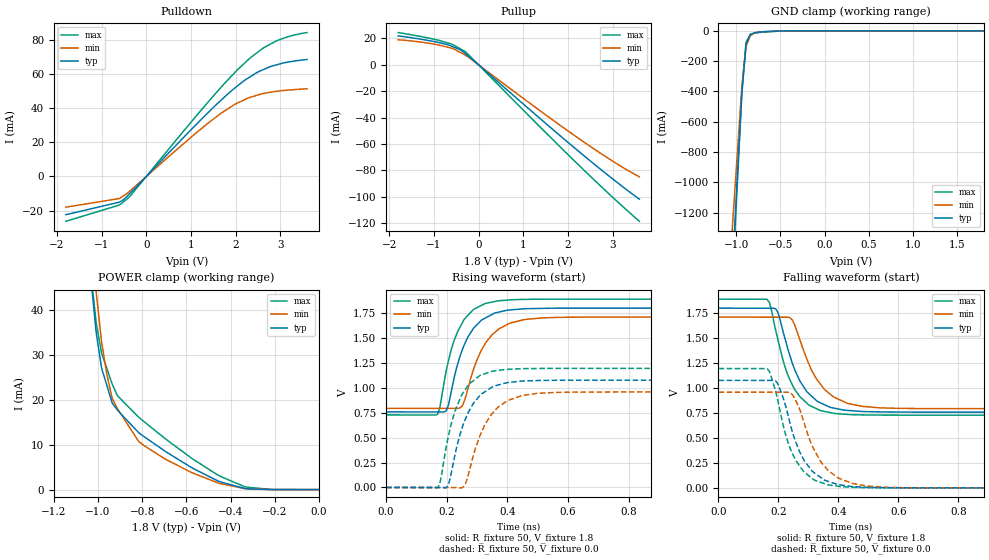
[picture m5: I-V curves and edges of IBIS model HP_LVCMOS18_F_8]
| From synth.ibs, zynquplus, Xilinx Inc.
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[Model] HP_LVCMOS18_F_8
Model_type I/O
Polarity   Non-Inverting
Enable   Active-Low
Vinl =   0.6300V
Vinh =   1.1700V
Vmeas =  0.9000V
Cref =   0.0000F
Rref =   1.0000M
Vref =   0.0000V
C_comp   2.69373293702p   2.69341016229p   2.69529909352p
C_comp_pullup   808.119881107f   808.023048688f   808.589728055f
C_comp_pulldown   1.88561305592p   1.8853871136p   1.88670936546p
[Temperature Range]   25.0000   100.0000   0.0
[Voltage Range]   1.8000V   1.7100V   1.8900V
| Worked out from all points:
|   slope of the pulldown table from 0 to 0.27 V, typ, clamps not added: 36.2 ohm
|   slope of the pullup table from 0 to 0.27 V, typ, clamps not added: 33.5 ohm
|   GND clamp passes 1 mA (typ) near -0.48 V on its own axis
|   POWER clamp passes 1 mA (typ) near -0.39 V on its own axis
|   rising waveform, R_fixture 50, V_fixture 1.8: 20-80 % time 71.8ps typ, 79.2ps min, 66.4ps max; typ from 0.759 V to 1.8 V
|   rising waveform, R_fixture 50, V_fixture 0.0: 20-80 % time 73.1ps typ, 80.6ps min, 66.7ps max; typ from 0 V to 1.08 V
|   falling waveform, R_fixture 50, V_fixture 1.8: 20-80 % time 80.9ps typ, 90.8ps min, 75ps max; typ from 1.8 V to 0.759 V
|   falling waveform, R_fixture 50, V_fixture 0.0: 20-80 % time 80.4ps typ, 87ps min, 74.6ps max; typ from 1.08 V to 0 V
[Pulldown]
|Voltage   I(typ)   I(min)   I(max)
-1.8V     -22.42mA   -18mA      -26.3mA
-600mV    -15.04mA   -12.93mA   -16.73mA
-480mV    -12.94mA   -10.8mA    -14.22mA
-360mV    -9.774mA   -8.419mA   -11.53mA
780mV     21.4mA     18.03mA    24.87mA
1.38V     37.35mA    31.22mA    43.54mA
1.98V     51.84mA    42.27mA    60.94mA
2.28V     57.74mA    46.03mA    68.45mA
2.64V     62.93mA    48.81mA    75.7mA
2.94V     65.7mA     50.07mA    79.87mA
3.24V     67.42mA    50.84mA    82.55mA
3.6V      68.66mA    51.46mA    84.46mA
[Pullup]
|Voltage   I(typ)   I(min)   I(max)
-1.8V     21.99mA    18.99mA    24.5mA
-1.2V     18.93mA    16.83mA    20.9mA
-720mV    15.57mA    13.63mA    16.93mA
-600mV    14.09mA    12.59mA    15.74mA
-420mV    11.62mA    9.609mA    12.38mA
-300mV    8.629mA    7.461mA    10.06mA
1.26V     -37.36mA   -31.96mA   -43.21mA
2.16V     -63.37mA   -53.96mA   -73.39mA
2.94V     -84.96mA   -71.77mA   -98.59mA
3.6V      -102mA     -85.04mA   -118.8mA
[GND_clamp]
|Voltage   I(typ)   I(min)   I(max)
-1.8V     -9.812A    -7.871A    -10.69A
-1.08V    -1.976A    -1.617A    -2.115A
-1.032V   -1.454A    -1.2A      -1.545A
-984mV    -933.7mA   -784.5mA   -975.9mA
-936mV    -414.2mA   -368.9mA   -408.7mA
-888mV    -85.1mA    -101.1mA   -75.37mA
-840mV    -23.78mA   -32.36mA   -24.02mA
-792mV    -12.17mA   -14.48mA   -14.81mA
-744mV    -8.706mA   -8.441mA   -11.52mA
-456mV    -716.8uA   -706.2uA   -1.236mA
1.8V      4.55nA     280.1nA    4.678nA
[Power_clamp]
|Voltage   I(typ)   I(min)   I(max)
-1.8V     2.015A     1.979A     2.041A
-1.032V   46.94mA    59.82mA    48.06mA
-1.008V   34.93mA    43.92mA    37.14mA
-984mV    27.15mA    33.02mA    30.47mA
-960mV    23.25mA    25.7mA     27.02mA
-936mV    19.35mA    20.39mA    23.58mA
-912mV    17.72mA    18.07mA    20.95mA
-816mV    12.71mA    10.74mA    16.16mA
-576mV    4.888mA    3.807mA    6.984mA
-456mV    1.889mA    1.464mA    3.187mA
-336mV    241.9uA    225.6uA    632.7uA
0V        30.27nA    15.03nA    8.879nA
[Ramp]
|variable   typ   min   max
dV/dt_r   0.6484/0.0731n   0.5774/0.0807n   0.7194/0.0667n
dV/dt_f   0.6255/0.0809n   0.5505/0.0908n   0.6974/0.0750n
R_load=50
[Rising Waveform]
R_fixture=50
V_fixture=1.8
V_fixture_min=1.71
V_fixture_max=1.89
|time   V(typ)   V(min)   V(max)
0s        758.5mV    793.2mV    728.2mV
170ps     758.6mV    793.2mV    735.5mV
197.5ps   766.7mV    793.3mV    1.161V
220ps     1.042V     793.1mV    1.437V
250ps     1.371V     814.5mV    1.645V
270ps     1.511V     995.6mV    1.728V
312.5ps   1.674V     1.369V     1.825V
367.5ps   1.757V     1.58V      1.873V
572.5ps   1.8V       1.707V     1.89V
3ns       1.8V       1.71V      1.89V
[Rising Waveform]
R_fixture=50
V_fixture=0.0
0s        0V         1.717uV    0V
170ps     93.61uV    -5.489uV   -1.469mV
180ps     -533.3uV   -4.242uV   82.81mV
205ps     24.38mV    92.98uV    511mV
252.5ps   616.1mV    696.8uV    943.4mV
285ps     831.5mV    291.9mV    1.065V
325ps     958.9mV    625.3mV    1.141V
390ps     1.046V     849.8mV    1.184V
617.5ps   1.076V     957mV      1.195V
3ns       1.077V     958.3mV    1.195V
[Falling Waveform]
R_fixture=50
V_fixture=1.8
V_fixture_min=1.71
V_fixture_max=1.89
|time   V(typ)   V(min)   V(max)
0s        1.8V       1.71V      1.89V
162.5ps   1.8V       1.71V      1.887V
175ps     1.8V       1.71V      1.8V
197.5ps   1.761V     1.71V      1.493V
237.5ps   1.331V     1.706V     1.089V
295ps     962.7mV    1.288V     847.5mV
327.5ps   872mV      1.089V     792.2mV
390ps     795.9mV    902.3mV    744.1mV
602.5ps   759mV      795.9mV    728.3mV
3ns       758.5mV    793.2mV    728.2mV
[Falling Waveform]
R_fixture=50
V_fixture=0.0
0s        1.077V     958.3mV    1.195V
162.5ps   1.077V     958.3mV    1.194V
197.5ps   1.044V     958.2mV    882.3mV
237.5ps   658.6mV    955.8mV    408.6mV
270ps     365.6mV    792.8mV    222.4mV
312.5ps   167.6mV    422.7mV    94.42mV
362.5ps   68.03mV    184mV      31.84mV
407.5ps   29.34mV    89.03mV    12.1mV
617.5ps   517.5uV    2.059mV    115.6uV
3ns       0V         1.618uV    0V
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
